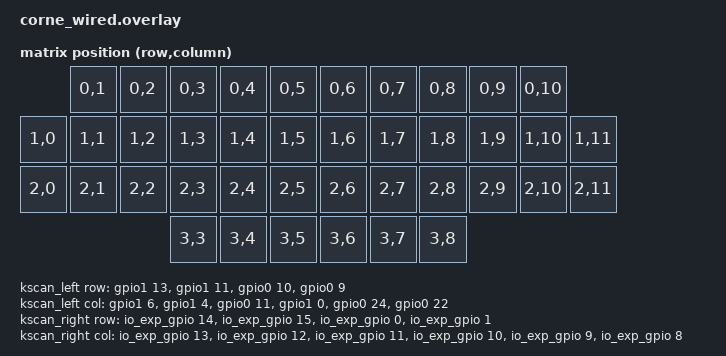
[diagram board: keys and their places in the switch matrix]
#include <dt-bindings/zmk/matrix_transform.h> // Put this with the other includes at the top of your dtsi

/ {
    chosen {
        zmk,physical-layout = &physical_layout0;
        // Other chosen items
    };

    /* wired_split { */
    /*     compatible = "zmk,wired-split"; */
    /*     device = <&pro_micro_serial>; */
    /* }; */

    default_transform: keymap_transform0 {
        compatible = "zmk,matrix-transform";
        columns = <12>;
        rows = <4>;
        map = <
                RC(0,1) RC(0,2) RC(0,3) RC(0,4) RC(0,5)  RC(0,6) RC(0,7) RC(0,8) RC(0,9) RC(0,10)
        RC(1,0) RC(1,1) RC(1,2) RC(1,3) RC(1,4) RC(1,5)  RC(1,6) RC(1,7) RC(1,8) RC(1,9) RC(1,10) RC(1,11)
        RC(2,0) RC(2,1) RC(2,2) RC(2,3) RC(2,4) RC(2,5)  RC(2,6) RC(2,7) RC(2,8) RC(2,9) RC(2,10) RC(2,11)
                                RC(3,3) RC(3,4) RC(3,5)  RC(3,6) RC(3,7) RC(3,8)
        >;
    };

    kscan_composite: kscan_composite {
        compatible = "zmk,kscan-composite";
        rows = <4>;
        columns = <12>;

        left {
            kscan = <&kscan_left>;
        };

        right {
            kscan = <&kscan_right>;
            col-offset = <6>;
        };
    };
    
    kscan_left: kscan_left {
        compatible = "zmk,kscan-gpio-matrix";
        diode-direction = "col2row";
        wakeup-source;

        col-gpios
            = <&gpio1 6 GPIO_ACTIVE_HIGH>
            , <&gpio1 4 GPIO_ACTIVE_HIGH>
            , <&gpio0 11 GPIO_ACTIVE_HIGH>
            , <&gpio1 0 GPIO_ACTIVE_HIGH>
            , <&gpio0 24 GPIO_ACTIVE_HIGH>
            , <&gpio0 22 GPIO_ACTIVE_HIGH>
            ;
        row-gpios
            = <&gpio1 13 (GPIO_ACTIVE_HIGH | GPIO_PULL_DOWN)>
            , <&gpio1 11 (GPIO_ACTIVE_HIGH | GPIO_PULL_DOWN)>
            , <&gpio0 10 (GPIO_ACTIVE_HIGH | GPIO_PULL_DOWN)>
            , <&gpio0 9 (GPIO_ACTIVE_HIGH | GPIO_PULL_DOWN)>
            ;
    };

    kscan_right: kscan_right {
        compatible = "zmk,kscan-gpio-matrix";
        diode-direction = "row2col";
        poll-period-ms = <10>;
        row-gpios
            = <&io_exp_gpio 14 GPIO_ACTIVE_LOW>
            , <&io_exp_gpio 15 GPIO_ACTIVE_LOW>
            , <&io_exp_gpio 0 GPIO_ACTIVE_LOW>
            , <&io_exp_gpio 1 GPIO_ACTIVE_LOW>
            ;
        col-gpios
            = <&io_exp_gpio 13 (GPIO_ACTIVE_LOW | GPIO_PULL_UP)>
            , <&io_exp_gpio 12 (GPIO_ACTIVE_LOW | GPIO_PULL_UP)>
            , <&io_exp_gpio 11 (GPIO_ACTIVE_LOW | GPIO_PULL_UP)>
            , <&io_exp_gpio 10 (GPIO_ACTIVE_LOW | GPIO_PULL_UP)>
            , <&io_exp_gpio 9 (GPIO_ACTIVE_LOW | GPIO_PULL_UP)>
            , <&io_exp_gpio 8 (GPIO_ACTIVE_LOW | GPIO_PULL_UP)>
            ;
    };

    physical_layout0: physical_layout_0 { // First physical layout, use different naming for other layouts
        compatible = "zmk,physical-layout";
        display-name = "Default Layout";
        kscan = <&kscan_composite>; // Label of the kscan node, optional if all layouts use the same
        transform = <&default_transform>; // Label of the matrix transform for this layout
    };

};
&i2c0 {
    status = "okay";
    /* clock-frequency = <I2C_BITRATE_FAST>; */
    io_exp_gpio: mcp23017@20 {
        compatible = "microchip,mcp23017";
        status = "okay";
        ngpios = <16>;
        #gpio-cells = <2>;
        gpio-controller;
        reg = <0x20>;
    };
};
/* &uart0 { */
/*     status = "okay"; */
/* }; */
